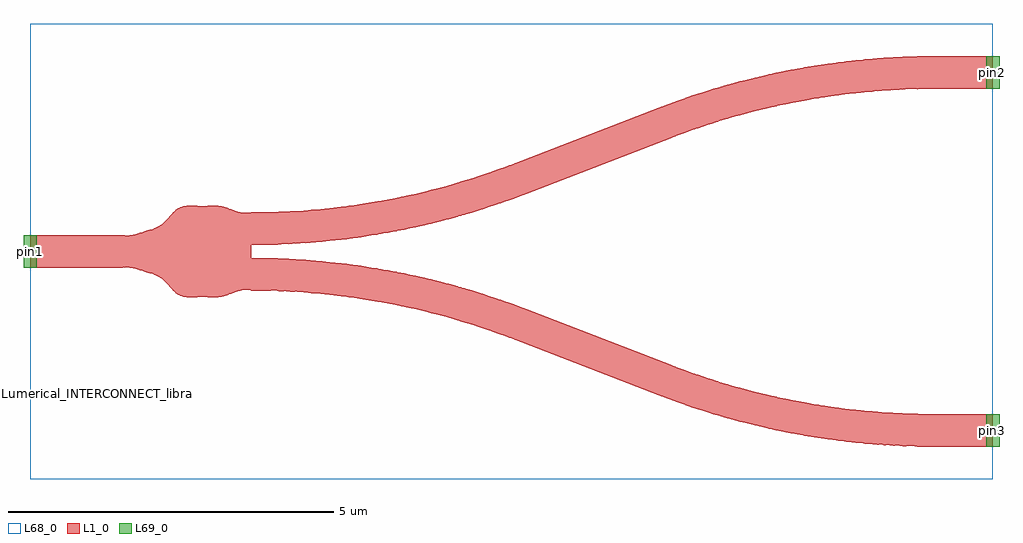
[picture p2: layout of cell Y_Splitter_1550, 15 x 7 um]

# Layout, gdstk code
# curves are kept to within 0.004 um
import gdstk
lib = gdstk.Library(unit=1e-6, precision=1e-09)
def R(c, l, rs):  # rectangles x0, y0, x1, y1
    for r in rs: c.add(gdstk.rectangle(r[:2], r[2:], *l))
def P(c, l, *ps):  # polygons
    for p in ps: c.add(gdstk.Polygon(p, *l))
L1_0 = (1, 0)
L68_0 = (68, 0)
L69_0 = (69, 0)

ybranch_compact = lib.new_cell('YBranch_Compact')
R(ybranch_compact, L1_0, [(14,-3,14.9,-2.5), (0.1,-0.25,1.5,0.25), (14,2.5,14.9,3)])
P(ybranch_compact, L1_0, [(13.958,-3),(13.737,-2.997),(13.737,-2.497),(14,-2.5),(14,-3)],
  [(12.533,-2.908),(12.153,-2.854),(11.788,-2.79),(11.441,-2.718),(11.09,-2.634),(10.772,-2.548),(10.422,-2.442),(10.055,-2.318),(9.765,-2.21),(9.945,-1.744),(10.285,-1.869),(10.575,-1.966),(10.937,-2.075),(11.231,-2.154),(11.532,-2.226),(11.872,-2.297),(12.193,-2.354),(12.533,-2.404)],
  [(13.733,-2.997),(13.446,-2.987),(13.119,-2.967),(12.533,-2.908),(12.533,-2.404),(13.125,-2.466),(13.458,-2.487),(13.737,-2.497)],
  [(9.765,-2.21),(7.555,-1.356),(7.735,-0.89),(9.945,-1.744)],
  [(6.738,-1.076),(6.377,-0.974),(5.968,-0.874),(5.591,-0.796),(5.166,-0.724),(4.708,-0.665),(4.322,-0.63),(3.899,-0.607),(3.5,-0.6),(3.5,-0.1),(3.935,-0.108),(4.34,-0.13),(4.706,-0.162),(5.119,-0.212),(5.532,-0.277),(5.935,-0.355),(6.286,-0.435),(6.738,-0.555)],
  [(7.555,-1.356),(7.131,-1.202),(6.738,-1.076),(6.738,-0.555),(7.237,-0.71),(7.735,-0.89)],
  [(13.737,2.497),(13.737,2.997),(14,3),(14,2.5)],
  [(9.945,1.744),(9.767,2.211),(10.055,2.318),(10.422,2.442),(10.772,2.548),(11.09,2.634),(11.441,2.718),(11.788,2.79),(12.153,2.854),(12.533,2.908),(12.533,2.404),(12.193,2.354),(11.872,2.297),(11.532,2.226),(11.231,2.154),(10.937,2.075),(10.575,1.966),(10.285,1.869)],
  [(12.533,2.404),(12.533,2.908),(13.119,2.967),(13.446,2.987),(13.737,2.997),(13.737,2.497),(13.458,2.487),(13.125,2.466)],
  [(7.735,0.89),(7.555,1.356),(9.765,2.21),(9.945,1.744)],
  [(3.5,0.1),(3.5,0.6),(3.899,0.607),(4.322,0.63),(4.708,0.665),(5.166,0.724),(5.591,0.796),(5.968,0.874),(6.377,0.974),(6.738,1.076),(6.738,0.555),(6.286,0.435),(5.935,0.355),(5.532,0.277),(5.119,0.212),(4.706,0.162),(4.34,0.13),(3.935,0.108)],
  [(6.738,0.555),(6.738,1.076),(7.131,1.202),(7.555,1.356),(7.735,0.89),(7.237,0.71)],
  [(2.378,-0.662),(2.321,-0.619),(2.156,-0.44),(2.11,-0.404),(2.058,-0.374),(1.964,-0.338),(1.692,-0.255),(1.617,-0.245),(1.5,-0.25),(1.5,0.25),(1.617,0.245),(1.683,0.253),(1.964,0.338),(2.058,0.374),(2.11,0.404),(2.156,0.44),(2.296,0.594),(2.378,0.662)],
  [(2.543,-0.703),(2.453,-0.692),(2.378,-0.662),(2.378,0.662),(2.438,0.688),(2.522,0.702),(2.962,0.703),(3.076,0.685),(3.268,0.617),(3.333,0.6),(3.377,0.595),(3.5,0.6),(3.5,-0.6),(3.433,-0.595),(3.333,-0.6),(3.268,-0.617),(3.097,-0.679),(2.991,-0.701)])
ybranch_compact.add(gdstk.Label('Ref: Y Zhang, Opt. Express, 21/1, 2013', (0,-1), layer=10, texttype=0))

y_splitter_1550 = lib.new_cell('Y_Splitter_1550')
R(y_splitter_1550, L68_0, [(-7.4,-3.5,7.4,3.5)])
R(y_splitter_1550, L69_0, [(7.4,-3,7.5,-2.5)])
y_splitter_1550.add(gdstk.FlexPath([(7.5,2.75),(7.3,2.75)], 0.5, ends="flush", simple_path=True, layer=69, datatype=0))  # L69_0
y_splitter_1550.add(gdstk.FlexPath([(7.5,-2.75),(7.3,-2.75)], 0.5, ends="flush", simple_path=True, layer=69, datatype=0))  # L69_0
y_splitter_1550.add(gdstk.FlexPath([(-7.3,0),(-7.5,0)], 0.5, ends="flush", simple_path=True, layer=69, datatype=0))  # L69_0
y_splitter_1550.add(gdstk.Reference(ybranch_compact, (-7.5,0)))
y_splitter_1550.add(gdstk.Label('pin2', (7.4,2.75), layer=69, texttype=0))
y_splitter_1550.add(gdstk.Label('pin3', (7.4,-2.75), layer=69, texttype=0))
y_splitter_1550.add(gdstk.Label('pin1', (-7.4,0), layer=69, texttype=0))
y_splitter_1550.add(gdstk.Label('Lumerical_INTERCONNECT_library=Design kits/ebeam_v1.2', (-6.86,-2.19), layer=68, texttype=0))

lib.write_gds('Y_Splitter_1550.gds')
